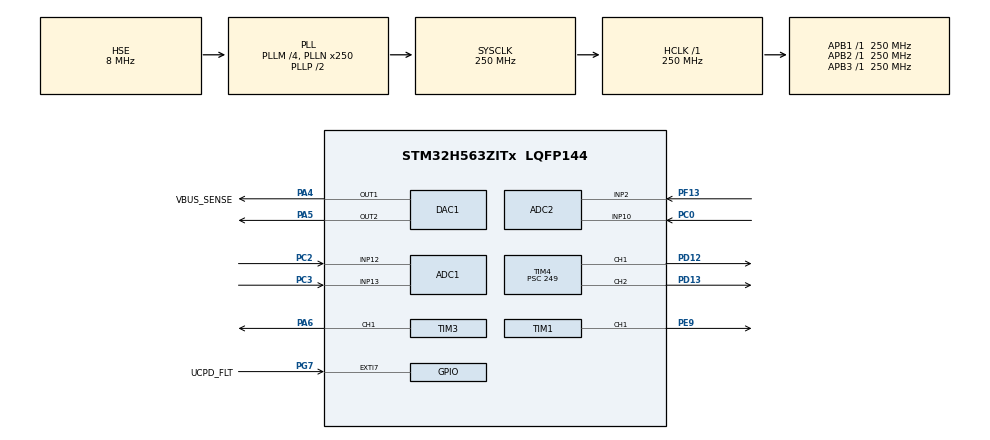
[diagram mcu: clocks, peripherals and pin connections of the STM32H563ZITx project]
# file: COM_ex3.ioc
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ADC1.Channel-0\#ChannelRegularConversion=ADC_CHANNEL_13
ADC1.Channel-1\#ChannelRegularConversion=ADC_CHANNEL_12
ADC1.ContinuousConvMode=ENABLE
ADC1.ConversionDataManagement=ADC_CONVERSIONDATA_DMA_CIRCULAR
ADC1.DMAContinuousRequests=DISABLE
ADC1.MonitoredBy-0\#ChannelRegularConversion=__NULL
ADC1.MonitoredBy-1\#ChannelRegularConversion=__NULL
ADC1.NbrOfConversion=2
ADC1.NbrOfConversionFlag=1
ADC1.OffsetNumber-0\#ChannelRegularConversion=ADC_OFFSET_NONE
ADC1.OffsetNumber-1\#ChannelRegularConversion=ADC_OFFSET_NONE
ADC1.Rank-0\#ChannelRegularConversion=1
ADC1.Rank-1\#ChannelRegularConversion=2
ADC1.SamplingTime-0\#ChannelRegularConversion=ADC_SAMPLETIME_12CYCLES_5
ADC1.SamplingTime-1\#ChannelRegularConversion=ADC_SAMPLETIME_12CYCLES_5
ADC1.master=1
ADC2.Channel-0\#ChannelRegularConversion=ADC_CHANNEL_2
ADC2.Channel-1\#ChannelRegularConversion=ADC_CHANNEL_10
ADC2.ContinuousConvMode=ENABLE
ADC2.ConversionDataManagement=ADC_CONVERSIONDATA_DMA_CIRCULAR
ADC2.DMAContinuousRequests=DISABLE
ADC2.MonitoredBy-0\#ChannelRegularConversion=__NULL
ADC2.MonitoredBy-1\#ChannelRegularConversion=__NULL
ADC2.NbrOfConversion=2
ADC2.NbrOfConversionFlag=1
ADC2.OffsetNumber-0\#ChannelRegularConversion=ADC_OFFSET_NONE
ADC2.OffsetNumber-1\#ChannelRegularConversion=ADC_OFFSET_NONE
ADC2.Rank-0\#ChannelRegularConversion=1
ADC2.Rank-1\#ChannelRegularConversion=2
ADC2.SamplingTime-0\#ChannelRegularConversion=ADC_SAMPLETIME_12CYCLES_5
ADC2.SamplingTime-1\#ChannelRegularConversion=ADC_SAMPLETIME_12CYCLES_5
BOOTPATH.BootPathName=LEGACY
BOOTPATH.UserSelectedBootPath=LEGACY
CORTEX_M33_NS.Number-Cortex_Memory_Protection_Unit_Region0_OTP_RO_AREAS_Settings=MPU_REGION_NUMBER0
CORTEX_M33_NS.default_mode_Activation=1
CORTEX_M33_NS.userName=CORTEX_M33
DAC1.DAC_Channel-DAC_OUT1=DAC_CHANNEL_1
DAC1.DAC_Channel-DAC_OUT2=DAC_CHANNEL_2
GPDMA1.CIRCULARMODE_GPDMACH0=ENABLE
GPDMA1.CIRCULARMODE_GPDMACH1=ENABLE
GPDMA1.CIRCULARMODE_GPDMACH2=ENABLE
GPDMA1.CIRCULARMODE_GPDMACH3=ENABLE
GPDMA1.DESTDATAWIDTH_GPDMACH0=DMA_DEST_DATAWIDTH_HALFWORD
GPDMA1.DESTDATAWIDTH_GPDMACH1=DMA_DEST_DATAWIDTH_HALFWORD
GPDMA1.DESTDATAWIDTH_GPDMACH2=DMA_DEST_DATAWIDTH_HALFWORD
GPDMA1.DESTDATAWIDTH_GPDMACH3=DMA_DEST_DATAWIDTH_HALFWORD
GPDMA1.DESTINC_GPDMACH0=DMA_DINC_INCREMENTED
GPDMA1.DESTINC_GPDMACH1=DMA_DINC_INCREMENTED
GPDMA1.DESTINC_GPDMACH2=DMA_DINC_INCREMENTED
GPDMA1.DESTINC_GPDMACH3=DMA_DINC_INCREMENTED
GPDMA1.IPHANDLE_GPDMACH0-SIMPLEREQUEST_GPDMACH0=__NULL
GPDMA1.IPHANDLE_GPDMACH1-SIMPLEREQUEST_GPDMACH1=__NULL
GPDMA1.IPHANDLE_GPDMACH2-SIMPLEREQUEST_GPDMACH2=__NULL
GPDMA1.IPHANDLE_GPDMACH3-SIMPLEREQUEST_GPDMACH3=__NULL
GPDMA1.LINKALLOCATEDPORT_CIRCULAR_GPDMACH2=DMA_LINK_ALLOCATED_PORT1
GPDMA1.LINKALLOCATEDPORT_CIRCULAR_GPDMACH3=DMA_LINK_ALLOCATED_PORT1
GPDMA1.REQUEST_GPDMACH0=GPDMA1_REQUEST_ADC1
GPDMA1.REQUEST_GPDMACH1=GPDMA1_REQUEST_ADC1
GPDMA1.REQUEST_GPDMACH2=GPDMA1_REQUEST_ADC2
GPDMA1.REQUEST_GPDMACH3=GPDMA1_REQUEST_ADC2
GPDMA1.SRCDATAWIDTH_GPDMACH0=DMA_SRC_DATAWIDTH_HALFWORD
GPDMA1.SRCDATAWIDTH_GPDMACH1=DMA_SRC_DATAWIDTH_HALFWORD
GPDMA1.SRCDATAWIDTH_GPDMACH2=DMA_SRC_DATAWIDTH_HALFWORD
GPDMA1.SRCDATAWIDTH_GPDMACH3=DMA_SRC_DATAWIDTH_HALFWORD
GPDMA1.TRANSFERALLOCATEDPORTDEST_GPDMACH2=DMA_DEST_ALLOCATED_PORT1
GPDMA1.TRANSFERALLOCATEDPORTDEST_GPDMACH3=DMA_DEST_ALLOCATED_PORT1
GPDMA1.TRANSFERALLOCATEDPORTSRC_GPDMACH2=DMA_SRC_ALLOCATED_PORT1
GPDMA1.TRANSFERALLOCATEDPORTSRC_GPDMACH3=DMA_SRC_ALLOCATED_PORT1
Mcu.Family=STM32H5
Mcu.Name=STM32H563ZITx
Mcu.Package=LQFP144
NUCLEO-H563ZI.BUTTON=1
NUCLEO-H563ZI.LD1=false
NUCLEO-H563ZI.LD2=false
NUCLEO-H563ZI.LD3=false
NUCLEO-H563ZI.VCP=true
NVIC.EXTI13_IRQn=true\:0\:0\:false\:false\:true\:false\:true\:true
NVIC.GPDMA1_Channel0_IRQn=true\:0\:0\:false\:false\:true\:false\:true\:true
NVIC.GPDMA1_Channel1_IRQn=true\:0\:0\:false\:false\:true\:false\:true\:true
NVIC.GPDMA1_Channel2_IRQn=true\:0\:0\:false\:false\:true\:false\:true\:true
NVIC.GPDMA1_Channel3_IRQn=true\:0\:0\:false\:false\:true\:false\:true\:true
NVIC.PriorityGroup=NVIC_PRIORITYGROUP_4
PA1.GPIO_Label=RMII_REF_CLK
PA1.GPIO_Mode=GPIO_MODE_AF_PP
PA1.GPIO_PuPd=GPIO_NOPULL
PA1.GPIO_Speed=GPIO_SPEED_FREQ_LOW
PA1.Signal=ETH_REF_CLK
PA11.GPIO_Label=USB_FS_N
PA11.Signal=USB_DM
PA12.GPIO_Label=USB_FS_P
PA12.Signal=USB_DP
PA13(JTMS/SWDIO).GPIO_Label=SWDIO
PA13(JTMS/SWDIO).Signal=DEBUG_JTMS-SWDIO
PA14(JTCK/SWCLK).GPIO_Label=SWCLK
PA14(JTCK/SWCLK).Signal=DEBUG_JTCK-SWCLK
PA15(JTDI).GPIO_Label=T_JTDI
PA15(JTDI).Signal=DEBUG_JTDI
PA2.GPIO_Label=RMII_MDIO
PA2.GPIO_Mode=GPIO_MODE_AF_PP
PA2.GPIO_PuPd=GPIO_NOPULL
PA2.GPIO_Speed=GPIO_SPEED_FREQ_LOW
PA2.Signal=ETH_MDIO
PA4.GPIO_Label=VBUS_SENSE
PA4.Signal=SharedAnalog_PA4
PA5.Signal=COMP_DAC12_group
PA6.Signal=S_TIM3_CH1
PA7.GPIO_Label=RMII_CRS_DV
PA7.GPIO_Mode=GPIO_MODE_AF_PP
PA7.GPIO_PuPd=GPIO_NOPULL
PA7.GPIO_Speed=GPIO_SPEED_FREQ_LOW
PA7.Signal=ETH_CRS_DV
PA9.GPIO_Label=UCDP_DBn
PA9.Signal=UCPD1_DB1
PB13.GPIO_Label=UCPD_CC1
PB13.Signal=UCPD1_CC1
PB14.GPIO_Label=UCPD_CC2
PB14.Signal=UCPD1_CC2
PB15.GPIO_Label=RMII_TXD1
PB15.GPIO_Mode=GPIO_MODE_AF_PP
PB15.GPIO_PuPd=GPIO_NOPULL
PB15.GPIO_Speed=GPIO_SPEED_FREQ_LOW
PB15.Signal=ETH_TXD1
PB3(JTDO/TRACESWO).GPIO_Label=SWO
PB3(JTDO/TRACESWO).Signal=DEBUG_JTDO-SWO
PB6.GPIO_Label=ARD_D1_TX
PB6.Signal=LPUART1_TX
PB7.GPIO_Label=ARD_D0_RX
PB7.Signal=LPUART1_RX
PC0.Signal=ADCx_INP10
PC14-OSC32_IN(OSC32_IN).Mode=LSE-External-Oscillator
PC14-OSC32_IN(OSC32_IN).Signal=RCC_OSC32_IN
PC15-OSC32_OUT(OSC32_OUT).Mode=LSE-External-Oscillator
PC15-OSC32_OUT(OSC32_OUT).Signal=RCC_OSC32_OUT
PC2.Signal=ADCx_INP12
PC3.Signal=ADCx_INP13
PC4.GPIO_Label=RMII_RXD0
PC4.GPIO_Mode=GPIO_MODE_AF_PP
PC4.GPIO_PuPd=GPIO_NOPULL
PC4.GPIO_Speed=GPIO_SPEED_FREQ_LOW
PC4.Signal=ETH_RXD0
PC5.GPIO_Label=RMII_RXD1
PC5.GPIO_Mode=GPIO_MODE_AF_PP
PC5.GPIO_PuPd=GPIO_NOPULL
PC5.GPIO_Speed=GPIO_SPEED_FREQ_LOW
PC5.Signal=ETH_RXD1
PD12.Signal=S_TIM4_CH1
PD13.Signal=S_TIM4_CH2
PE2.GPIO_Label=TRACE_CK
PE2.Signal=DEBUG_TRACECLK
PE3.GPIO_Label=TRACE_D0
PE3.Signal=DEBUG_TRACED0
PE4.GPIO_Label=TRACE_D1
PE4.Signal=DEBUG_TRACED1
PE5.GPIO_Label=TRACE_D2
PE5.Signal=DEBUG_TRACED2
PE6.GPIO_Label=TRACE_D3
PE6.Signal=DEBUG_TRACED3
PE9.Signal=S_TIM1_CH1
PF11.Signal=ADC1_INP2
PF13.Mode=IN2-Single-Ended
PF13.Signal=ADC2_INP2
PG11.GPIO_Label=RMII_TXT_EN
PG11.GPIO_Mode=GPIO_MODE_AF_PP
PG11.GPIO_PuPd=GPIO_NOPULL
PG11.GPIO_Speed=GPIO_SPEED_FREQ_LOW
PG11.Signal=ETH_TX_EN
PG13.GPIO_Label=RMI_TXD0
PG13.GPIO_Mode=GPIO_MODE_AF_PP
PG13.GPIO_PuPd=GPIO_NOPULL
PG13.GPIO_Speed=GPIO_SPEED_FREQ_LOW
PG13.Signal=ETH_TXD0
PG7.GPIO_Label=UCPD_FLT
PG7.Signal=GPXTI7
PH0-OSC_IN(PH0).GPIO_Label=STLK_MCO
PH0-OSC_IN(PH0).Mode=HSE-External-Clock-Source
PH0-OSC_IN(PH0).Signal=RCC_OSC_IN
ProjectManager.HeapSize=0x200
ProjectManager.StackSize=0x400
ProjectManager.TargetToolchain=STM32CubeIDE
RCC.ADCFreq_Value=250000000
RCC.AHBFreq_Value=250000000
RCC.APB1Freq_Value=250000000
RCC.APB1TimFreq_Value=250000000
RCC.APB2Freq_Value=250000000
RCC.APB2TimFreq_Value=250000000
RCC.APB3Freq_Value=250000000
RCC.CSI_VALUE=4000000
RCC.CortexFreq_Value=250000000
RCC.EPOD_VALUE=8000000
RCC.HCLKFreq_Value=250000000
RCC.HSE_VALUE=8000000
RCC.HSI48_VALUE=48000000
RCC.HSIDiv=RCC_HSI_DIV1
RCC.HSI_VALUE=64000000
RCC.LSIRC_VALUE=32000
RCC.PLLM=4
RCC.PLLN=250
RCC.PLLSourceVirtual=RCC_PLL1_SOURCE_HSE
RCC.SYSCLKFreq_VALUE=250000000
RCC.SYSCLKSource=RCC_SYSCLKSOURCE_PLLCLK
RCC.USBFreq_Value=48000000
RCC.VCOOutputFreq_Value=500000000
SH.ADCx_INP10.0=ADC2_INP10,IN10-Single-Ended
SH.ADCx_INP12.0=ADC1_INP12,IN12-Single-Ended
SH.ADCx_INP13.0=ADC1_INP13,IN13-Single-Ended
SH.COMP_DAC12_group.0=DAC1_OUT2,DAC_OUT2
SH.S_TIM1_CH1.0=TIM1_CH1,PWM Generation1 CH1
SH.S_TIM3_CH1.0=TIM3_CH1,PWM Generation1 CH1
SH.S_TIM4_CH1.0=TIM4_CH1,PWM Generation1 CH1
SH.S_TIM4_CH2.0=TIM4_CH2,PWM Generation2 CH2
SH.SharedAnalog_PA4.0=ADC1_INP18
SH.SharedAnalog_PA4.1=DAC1_OUT1,DAC_OUT1
TIM1.Channel-PWM\ Generation1\ CH1=TIM_CHANNEL_1
TIM1.Dithering=Disable
TIM1.PeriodNoDither=249
TIM1.Prescaler=0
TIM1.PulseNoDither_1=217
TIM3.Channel-PWM\ Generation1\ CH1=TIM_CHANNEL_1
TIM3.PeriodNoDither=249
TIM3.PulseNoDither_1=82
TIM4.Channel-PWM\ Generation1\ CH1=TIM_CHANNEL_1
TIM4.Channel-PWM\ Generation2\ CH2=TIM_CHANNEL_2
TIM4.PeriodNoDither=999
TIM4.Prescaler=249
TIM4.PulseNoDither_1=499
TIM4.PulseNoDither_2=299
VP_BOOTPATH_VS_BOOTPATH.Mode=BP_Activate
VP_CORTEX_M33_NS_VS_Hclk.Mode=Hclk_Mode
VP_GPDMA1_VS_GPDMACH0.Mode=SIMPLEREQUEST_GPDMACH0
VP_GPDMA1_VS_GPDMACH1.Mode=SIMPLEREQUEST_GPDMACH1
VP_GPDMA1_VS_GPDMACH2.Mode=SIMPLEREQUEST_GPDMACH2
VP_GPDMA1_VS_GPDMACH3.Mode=SIMPLEREQUEST_GPDMACH3
VP_ICACHE_VS_ICACHE.Mode=DirectMappedCache
VP_MEMORYMAP_VS_MEMORYMAP.Mode=CurAppReg
VP_NUCLEO-H563ZI_VS_BSP_COMMON.Mode=COMMON
VP_PWR_VS_DBSignals.Mode=DisableDeadBatterySignals
VP_PWR_VS_LPOM.Mode=PowerOptimisation
VP_PWR_VS_SECSignals.Mode=Security/Privilege
VP_TIM1_VS_ClockSourceINT.Mode=Internal
VP_TIM1_VS_ClockSourceITR.Mode=TriggerSource_ITR1
VP_TIM3_VS_ClockSourceINT.Mode=Internal
VP_TIM3_VS_ClockSourceITR.Mode=TriggerSource_ITR1
VP_TIM4_VS_ClockSourceINT.Mode=Internal
VP_TIM4_VS_ClockSourceITR.Mode=TriggerSource_ITR1
board=NUCLEO-H563ZI

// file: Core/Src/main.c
/* USER CODE BEGIN Header */
/**
  ******************************************************************************
  * @file           : main.c
  * @brief          : Main program body
  ******************************************************************************
  */
/* USER CODE END Header */
#include "main.h"
#include "adc.h"
#include "dac.h"
#include "gpdma.h"
#include "icache.h"
#include "tim.h"
#include "gpio.h"

/* USER CODE BEGIN Includes */
#include <stdio.h>
#include <stdlib.h>
#include <string.h>

/* USER CODE END Includes */

/* USER CODE BEGIN PD */

#define ADC_INSTANCES 2
#define ADC_CHANNELS  2
#define TOP_N 4
#define IL_LUT_SIZE 401

/* USER CODE END PD */

COM_InitTypeDef BspCOMInit;

/* USER CODE BEGIN PV */

uint32_t peak[ADC_INSTANCES][ADC_CHANNELS];
uint32_t gain[ADC_INSTANCES][ADC_CHANNELS];

typedef struct
{
    uint32_t G_T;
    uint32_t G_D;
} IL_Gain_t;

volatile uint16_t adc1_buffer[2];
volatile uint16_t adc2_buffer[2];

uint16_t Factor;
uint16_t IL;
uint16_t Current_IL;
int32_t kp;
int32_t ki;
int32_t kd;
int32_t integral;
int32_t derivative;
IL_Gain_t il_gain;
uint8_t il_ready = 0;
volatile uint8_t h =0;

const uint16_t IL_LUT[IL_LUT_SIZE] = {
    65535, 64785, 64043, 63310, 62585, 61869, 61161, 60461,
    59769, 59084, 58408, 57740, 57079, 56425, 55779, 55141,
    54510, 53886, 53269, 52659, 52056, 51460, 50871, 50289,
    49713, 49144, 48582, 48026, 47476, 46932, 46395, 45864,
    45339, 44820, 44307, 43800, 43299, 42803, 42313, 41829,
    41350, 40876, 40409, 39946, 39489, 39037, 38590, 38148,
    37711, 37280, 36853, 36431, 36014, 35602, 35194, 34792,
    34393, 34000, 33610, 33226, 32845, 32469, 32098, 31730,
    31367, 31008, 30653, 30302, 29955, 29612, 29273, 28938,
    28607, 28280, 27956, 27636, 27320, 27007, 26698, 26392,
    26090, 25791, 25496, 25204, 24916, 24631, 24349, 24070,
    23794, 23522, 23253, 22987, 22723, 22463, 22206, 21952,
    21701, 21452, 21207, 20964, 20724, 20487, 20252, 20020,
    19791, 19565, 19341, 19119, 18901, 18684, 18470, 18259,
    18050, 17843, 17639, 17437, 17237, 17040, 16845, 16652,
    16462, 16273, 16087, 15903, 15721, 15541, 15363, 15187,
    15013, 14841, 14671, 14504, 14337, 14173, 14011, 13851,
    13692, 13535, 13381, 13227, 13076, 12926, 12778, 12632,
    12487, 12344, 12203, 12063, 11925, 11789, 11654, 11521,
    11389, 11258, 11129, 11002, 10876, 10752, 10629, 10507,
    10387, 10268, 10150, 10034, 9919, 9806, 9693, 9582,
    9473, 9364, 9257, 9151, 9046, 8943, 8840, 8739,
    8639, 8540, 8443, 8346, 8250, 8156, 8063, 7970,
    7879, 7789, 7700, 7612, 7524, 7438, 7353, 7269,
    7186, 7104, 7022, 6942, 6862, 6784, 6706, 6629,
    6554, 6478, 6404, 6331, 6259, 6187, 6116, 6046,
    5977, 5908, 5841, 5774, 5708, 5643, 5578, 5514,
    5451, 5389, 5327, 5266, 5206, 5146, 5087, 5029,
    4971, 4914, 4858, 4803, 4748, 4693, 4640, 4586,
    4534, 4482, 4431, 4380, 4330, 4280, 4231, 4183,
    4135, 4088, 4041, 3995, 3949, 3904, 3859, 3815,
    3771, 3728, 3685, 3643, 3601, 3560, 3519, 3479,
    3439, 3400, 3361, 3323, 3285, 3247, 3210, 3173,
    3137, 3101, 3065, 3030, 2996, 2961, 2927, 2894,
    2861, 2828, 2796, 2764, 2732, 2701, 2670, 2639,
    2609, 2579, 2550, 2520, 2492, 2463, 2435, 2407,
    2379, 2352, 2325, 2299, 2272, 2246, 2221, 2195,
    2170, 2145, 2121, 2096, 2072, 2049, 2025, 2002,
    1979, 1956, 1934, 1912, 1890, 1868, 1847, 1826,
    1805, 1784, 1764, 1744, 1724, 1704, 1685, 1665,
    1646, 1627, 1609, 1590, 1572, 1554, 1536, 1519,
    1501, 1484, 1467, 1450, 1434, 1417, 1401, 1385,
    1369, 1354, 1338, 1323, 1308, 1293, 1278, 1263,
    1249, 1234, 1220, 1206, 1193, 1179, 1165, 1152,
    1139, 1126, 1113, 1100, 1088, 1075, 1063, 1051,
    1039, 1027, 1015, 1003, 992, 981, 969, 958,
    947, 936, 926, 915, 905, 894, 884, 874,
    864, 854, 844, 835, 825, 816, 806, 797,
    788, 779, 770, 761, 752, 744, 735, 727,
    719, 710, 702, 694, 686, 678, 671, 663,
    655
};

/* USER CODE END PV */

void SystemClock_Config(void);
static void MPU_Config(void);
/* USER CODE BEGIN PFP */

void SetDAC_1(int value);
void SetDAC_2(int value);
void SetPWM(TIM_HandleTypeDef *htim, uint32_t channel, int percent);

void Calibration_Run(volatile uint16_t *adc1_buffer,volatile uint16_t *adc2_buffer);
uint16_t Tune_IL_Gains(uint32_t peak[2][2],IL_Gain_t *g,uint16_t x_centi_dB);

/* USER CODE END PFP */

int main(void)
{

  /* MCU Configuration--------------------------------------------------------*/

  /* MPU Configuration--------------------------------------------------------*/
  MPU_Config();

  /* Reset of all peripherals, Initializes the Flash interface and the Systick. */
  HAL_Init();

  /* Configure the system clock */
  SystemClock_Config();

  /* USER CODE BEGIN SysInit */

  static uint32_t printTick = 0;
  int32_t calculation_MRR3 = 0;
  //int16_t calculation_MRR4 = 0;
  static uint16_t DAC_Value_MRR3 = 3000;
 // static uint16_t DAC_Value_MRR4 = 4095;

  uint32_t ADC1_CH0_filt = 0;
  uint32_t ADC1_CH1_filt = 0;
  uint32_t ADC2_CH0_filt = 0;
  uint32_t ADC2_CH1_filt = 0;
  uint16_t dac_value = 0;

  kp = 0;
  ki = 0;
  kd =0;
  IL = 0;
  Current_IL= 0;
  integral =0;
  h=0;

  /* USER CODE END SysInit */

  /* Initialize all configured peripherals */
  MX_GPIO_Init();
  MX_GPDMA1_Init();
  MX_DAC1_Init();
  MX_ICACHE_Init();
  MX_TIM1_Init();
  MX_TIM3_Init();
  MX_TIM4_Init();
  MX_ADC1_Init();
  MX_ADC2_Init();
  /* USER CODE BEGIN 2 */
  BSP_PB_Init(BUTTON_USER, BUTTON_MODE_EXTI);
  HAL_ADC_Start_DMA(&hadc1, (uint32_t*)adc1_buffer, 2);
  HAL_ADC_Start_DMA(&hadc2, (uint32_t*)adc2_buffer, 2);

  /* Start PWM outputs */
  HAL_TIM_PWM_Start(&htim1, TIM_CHANNEL_1);
  HAL_TIM_PWM_Start(&htim3, TIM_CHANNEL_1);
  HAL_TIM_PWM_Start(&htim4, TIM_CHANNEL_1);
  HAL_TIM_PWM_Start(&htim4, TIM_CHANNEL_2);
  /* Enable main output for advanced timer */
  __HAL_TIM_MOE_ENABLE(&htim1);

  /* Start ADC DMA (4 samples total) */

  /* Print startup message */
  printf("System Ready\r\n");

  /* USER CODE END 2 */

  /* Initialize leds */
  BSP_LED_Init(LED_GREEN);
  BSP_LED_Init(LED_YELLOW);
  BSP_LED_Init(LED_RED);

  /* Initialize USER push-button, will be used to trigger an interrupt each time it's pressed.*/
  BSP_PB_Init(BUTTON_USER, BUTTON_MODE_EXTI);

  /* Initialize COM1 port (921600, 8 bits (7-bit data + 1 stop bit), no parity */
  BspCOMInit.BaudRate   = 921600;
  BspCOMInit.WordLength = COM_WORDLENGTH_8B;
  BspCOMInit.StopBits   = COM_STOPBITS_1;
  BspCOMInit.Parity     = COM_PARITY_NONE;
  BspCOMInit.HwFlowCtl  = COM_HWCONTROL_NONE;
  if (BSP_COM_Init(COM1, &BspCOMInit) != BSP_ERROR_NONE)
  {
    Error_Handler();
  }

  /* Infinite loop */
  /* USER CODE BEGIN WHILE */
  //static uint32_t lastTick = 0;

// SET THE INSERTION LOSS, 300 means 3db, 455 means 4.55 db loss
  IL = 300;

  Calibration_Run(adc1_buffer, adc2_buffer);

  printf("BEFORE IL GAINS \r\n");

  dac_value = Tune_IL_Gains(peak, &il_gain,IL);
  il_ready = 1;
  DAC_Value_MRR3 = dac_value;
  HAL_Delay(50);

  while (1)
  {

		if (LL_ADC_REG_IsConversionOngoing(ADC1)==0&&LL_ADC_REG_IsConversionOngoing(ADC2)==0)
		{
		LL_ADC_REG_StartConversion(ADC1);
		LL_ADC_REG_StartConversion(ADC2);
		while(LL_ADC_REG_IsConversionOngoing(ADC1)||LL_ADC_REG_IsConversionOngoing(ADC2))
			{ }
		HAL_Delay(1);
		ADC1_CH1_filt = (adc1_buffer[1]*il_gain.G_T)>>16;
		ADC2_CH1_filt = (adc2_buffer[1]*il_gain.G_D)>>16;
		}

		derivative = (ADC2_CH1_filt-ADC1_CH1_filt)-calculation_MRR3;
		calculation_MRR3 = ADC2_CH1_filt-ADC1_CH1_filt;
		integral += calculation_MRR3>>2;

		Current_IL = (adc1_buffer[1]<<16)/peak[0][1];

		kp = 16;
		ki = 20;
		kd = 2;
		DAC_Value_MRR3 +=((kp*calculation_MRR3)>>16) + ((ki*integral)>>16) + ((kd*derivative)>>16);

		/*if (calculation_MRR3 >0)
		{
			if (DAC_Value_MRR3<4095)
				DAC_Value_MRR3 = DAC_Value_MRR3 +1;
			else
			{
				DAC_Value_MRR3 = 50;
			HAL_Delay(100);
			}
		}

		if (calculation_MRR3 <0)
		{
			if (DAC_Value_MRR3>0)
				DAC_Value_MRR3 = DAC_Value_MRR3 -1;
			else
			{
				DAC_Value_MRR3 = 4000;
			HAL_Delay(100);
			}
		}*/

		calculation_MRR3 =0;

		SetDAC_2(DAC_Value_MRR3);
		//HAL_Delay(1);
		//SetDAC_1(DAC_Value_MRR4);

		if (HAL_GetTick() - printTick > 120)
		{
		    printf("ADC1=%lu %lu | ADC2=%lu %lu | DAC=%u IL=%u\r\n",
		           ADC1_CH0_filt,
		           ADC1_CH1_filt,
		           ADC2_CH0_filt,
		           ADC2_CH1_filt,
		           DAC_Value_MRR3,
				   Current_IL);

		    printf("DAC=%u IL = %u\r\n",
		           DAC_Value_MRR3,
				   Current_IL);

		    printTick = HAL_GetTick();
		}
		//HAL_Delay(5);
  }

}
    /* USER CODE END WHILE */

void SystemClock_Config(void)
{
  RCC_OscInitTypeDef RCC_OscInitStruct = {0};
  RCC_ClkInitTypeDef RCC_ClkInitStruct = {0};

  /** Configure the main internal regulator output voltage
  */
  __HAL_PWR_VOLTAGESCALING_CONFIG(PWR_REGULATOR_VOLTAGE_SCALE0);

  while(!__HAL_PWR_GET_FLAG(PWR_FLAG_VOSRDY)) {}

  /** Configure LSE Drive Capability
  *  Warning : Only applied when the LSE is disabled.
  */
  HAL_PWR_EnableBkUpAccess();
  __HAL_RCC_LSEDRIVE_CONFIG(RCC_LSEDRIVE_LOW);

  /** Initializes the RCC Oscillators according to the specified parameters
  * in the RCC_OscInitTypeDef structure.
  */
  RCC_OscInitStruct.OscillatorType = RCC_OSCILLATORTYPE_HSE|RCC_OSCILLATORTYPE_LSE;
  RCC_OscInitStruct.HSEState = RCC_HSE_BYPASS;
  RCC_OscInitStruct.LSEState = RCC_LSE_ON;
  RCC_OscInitStruct.PLL.PLLState = RCC_PLL_ON;
  RCC_OscInitStruct.PLL.PLLSource = RCC_PLL1_SOURCE_HSE;
  RCC_OscInitStruct.PLL.PLLM = 4;
  RCC_OscInitStruct.PLL.PLLN = 250;
  RCC_OscInitStruct.PLL.PLLP = 2;
  RCC_OscInitStruct.PLL.PLLQ = 2;
  RCC_OscInitStruct.PLL.PLLR = 2;
  RCC_OscInitStruct.PLL.PLLRGE = RCC_PLL1_VCIRANGE_1;
  RCC_OscInitStruct.PLL.PLLVCOSEL = RCC_PLL1_VCORANGE_WIDE;
  RCC_OscInitStruct.PLL.PLLFRACN = 0;
  if (HAL_RCC_OscConfig(&RCC_OscInitStruct) != HAL_OK)
  {
    Error_Handler();
  }

  /** Initializes the CPU, AHB and APB buses clocks
  */
  RCC_ClkInitStruct.ClockType = RCC_CLOCKTYPE_HCLK|RCC_CLOCKTYPE_SYSCLK
                              |RCC_CLOCKTYPE_PCLK1|RCC_CLOCKTYPE_PCLK2
                              |RCC_CLOCKTYPE_PCLK3;
  RCC_ClkInitStruct.SYSCLKSource = RCC_SYSCLKSOURCE_PLLCLK;
  RCC_ClkInitStruct.AHBCLKDivider = RCC_SYSCLK_DIV1;
  RCC_ClkInitStruct.APB1CLKDivider = RCC_HCLK_DIV1;
  RCC_ClkInitStruct.APB2CLKDivider = RCC_HCLK_DIV1;
  RCC_ClkInitStruct.APB3CLKDivider = RCC_HCLK_DIV1;

  if (HAL_RCC_ClockConfig(&RCC_ClkInitStruct, FLASH_LATENCY_5) != HAL_OK)
  {
    Error_Handler();
  }

  /** Configure the programming delay
  */
  __HAL_FLASH_SET_PROGRAM_DELAY(FLASH_PROGRAMMING_DELAY_2);
}

/* USER CODE BEGIN 4 */

void SetDAC_2(int value)
{
  if (value < 0) value = 0;
  if (value > 4095) value = 4095;

  HAL_DAC_SetValue(
      &hdac1,
      DAC_CHANNEL_2,
      DAC_ALIGN_12B_R,
      value
  );

  HAL_DAC_Start(&hdac1, DAC_CHANNEL_2);
}

void SetDAC_1(int value)
{
  if (value < 0) value = 0;
  if (value > 4095) value = 4095;

  HAL_DAC_SetValue(
      &hdac1,
      DAC_CHANNEL_1,
      DAC_ALIGN_12B_R,
      value
  );

  HAL_DAC_Start(&hdac1, DAC_CHANNEL_1);
}

uint16_t Tune_IL_Gains(uint32_t peak[2][2],  IL_Gain_t *g,uint16_t x_centi_dB)
{
	printf("TUNING IL GAIN\r\n");
	// Convert centi-dB to LUT index (5 centi-dB resolution)
	uint16_t idx = x_centi_dB / 5;
	uint32_t ratio = IL_LUT[idx];
	uint16_t dac_value = 3000;
	uint16_t count =0;
	uint32_t dac_sum = 0;
	g -> G_T = 65536;
	g -> G_D = 65536;
	uint8_t Ongoing = 1;
	uint32_t ADC1_CH0_filt = 0;
	uint32_t ADC1_CH1_filt = 0;
	uint32_t ADC2_CH0_filt = 0;
	uint32_t ADC2_CH1_filt = 0;
	uint16_t dac = dac_value;

	uint32_t target = (ratio*(uint32_t)peak[0][1])>>16;
	// Target is ratio(<<16)*adc_norm(<<10.

	while (Ongoing)
	{
	SetDAC_2(dac);
	HAL_Delay(10);
	printf("%u\r\n",dac);
	//while (h<8)
		 // {
	LL_ADC_REG_StartConversion(ADC1);
	LL_ADC_REG_StartConversion(ADC2);
	while(LL_ADC_REG_IsConversionOngoing(ADC1)||LL_ADC_REG_IsConversionOngoing(ADC2))
		{ }
	HAL_Delay(2);
	ADC1_CH0_filt = adc1_buffer[0];
	ADC1_CH1_filt = adc1_buffer[1];

	ADC2_CH0_filt = adc2_buffer[0];
	ADC2_CH1_filt = adc2_buffer[1];
	int32_t value = ADC1_CH1_filt-target;
	printf("ADC1=%lu %lu | ADC2=%lu %lu | DAC=%u IL=%u\r\n",
			           ADC1_CH0_filt,
			           ADC1_CH1_filt,
			           ADC2_CH0_filt,
			           ADC2_CH1_filt,
					   dac,
					   Current_IL);

	if (value<-1)
		  {dac++;
		  HAL_Delay(1);}
	else if (value>1)
		{dac--;
		HAL_Delay(1);}
	else
		{count++;
		dac_sum = dac_sum + dac;
		HAL_Delay(1);}

	if (count>31)
		{Ongoing=0;
		dac_value = dac_sum>>5;
		HAL_Delay(100);
		}
	  }

	printf("DAC VALUE FOUND: %u\r\n",dac_value);
	HAL_Delay(500);
	SetDAC_2(dac_value);
	Ongoing =1;
	int32_t calc=0;
	count =0;
	while (Ongoing)
		  {
			  if (LL_ADC_REG_IsConversionOngoing(ADC1)==0&&LL_ADC_REG_IsConversionOngoing(ADC2)==0)
			{
			LL_ADC_REG_StartConversion(ADC1);
			LL_ADC_REG_StartConversion(ADC2);
			while(LL_ADC_REG_IsConversionOngoing(ADC1)||LL_ADC_REG_IsConversionOngoing(ADC2))
				{ }

			ADC1_CH0_filt = adc1_buffer[0];
			ADC1_CH1_filt = (adc1_buffer[1]*g->G_T)>>16;

			ADC2_CH0_filt = adc2_buffer[0];
			ADC2_CH1_filt = (adc2_buffer[1]*g->G_D)>>16;

		    printf("ADC1=%lu %lu | ADC2=%lu %lu | DAC=%u IL=%u\r\n",
		           ADC1_CH0_filt,
		           ADC1_CH1_filt,
		           ADC2_CH0_filt,
		           ADC2_CH1_filt,
				   dac_value,
				   Current_IL);
			}

			calc = ADC2_CH1_filt-ADC1_CH1_filt;

			if (calc>0)
			{
			if (calc>2000){
				g -> G_D -=500;
				g -> G_T +=1000;}
			else if (calc>200){
				g -> G_D -=50;
				g -> G_T +=100;}
			else if (calc>20){
				g -> G_D -=5;
				g -> G_T +=10;}
			else{
				g -> G_D -=1;
				g -> G_T +=2;}
			}

			else if (calc<0)
			{
				if (calc<-2000){
					g -> G_D +=1000;
					g -> G_T -=500;}
				if (calc<-200){
					g -> G_D +=100;
					g -> G_T -=50;}
				else if (calc<-20){
					g -> G_D +=10;
					g -> G_T -=5;}
				else{
					g -> G_D +=2;
					g -> G_T -=1;}
			}
			else
				count++;

			if (count>31)
				Ongoing=0;

			printf("G_D = %lu G_T = %lu\r\n",g->G_D,g->G_T);
						HAL_Delay(5);
		  }

			printf("Gain T : %lu, Gain D: %lu\r\n",g->G_T,g->G_D);
			HAL_Delay(500);
			return(dac_value);

}

void Calibration_Run(volatile uint16_t *adc1_buffer,
                     volatile uint16_t *adc2_buffer)
{
    printf("Calibration Begin\r\n");
    Current_IL =0;

    /* reset */
    for (uint8_t a = 0; a < ADC_INSTANCES; a++)
    {
        for (uint8_t ch = 0; ch < ADC_CHANNELS; ch++)
        {
            for (uint8_t i = 0; i < TOP_N; i++)
            {
                peak[a][ch] = 0;
            }
        }
    }

    for (uint16_t dac = 0; dac < 3000; dac++)
    {
        SetDAC_2(dac);

        HAL_Delay(2);

        LL_ADC_REG_StartConversion(ADC1);
        LL_ADC_REG_StartConversion(ADC2);

        while (LL_ADC_REG_IsConversionOngoing(ADC1) ||
               LL_ADC_REG_IsConversionOngoing(ADC2))
        {
        }
        HAL_Delay(2);

        uint16_t adc[ADC_INSTANCES][ADC_CHANNELS];

        adc[0][0] = adc1_buffer[0];
        adc[0][1] = adc1_buffer[1];

        adc[1][0] = adc2_buffer[0];
        adc[1][1] = adc2_buffer[1];

        printf("ADC1=%u %u | ADC2=%u %u | DAC=%u IL=%u\r\n",
        		adc[0][0],
				adc[0][1],
				adc[1][0],
				adc[1][1],
				dac,
				Current_IL);
        HAL_Delay(2);

        for (uint8_t a = 0; a < ADC_INSTANCES; a++)
        {
            for (uint8_t ch = 0; ch < ADC_CHANNELS; ch++)
            {
                if (peak[a][ch]< adc[a][ch])
				peak[a][ch] = adc[a][ch];
            }
        }

        HAL_Delay(1);
    }

    /* find global reference */
    uint32_t ref = 0;

    for (uint8_t a = 0; a < ADC_INSTANCES; a++)
    {
        for (uint8_t ch = 0; ch < ADC_CHANNELS; ch++)
        {
            if (peak[a][ch] > ref)
                ref = peak[a][ch];
        }
    }

    printf("Calibration End\r\n");
    printf("MAXIMUM: %lu\r\n",ref);
}

void SetPWM(TIM_HandleTypeDef *htim, uint32_t channel, int percent)
{
    if (percent < 0) percent = 0;
    if (percent > 100) percent = 100;

    uint32_t arr = __HAL_TIM_GET_AUTORELOAD(htim);
    uint32_t pulse = (percent * (arr + 1)) / 100;

    __HAL_TIM_SET_COMPARE(htim, channel, pulse);

    printf("PWM set to %d%%\r\n", percent);
}

/* USER CODE END 4 */

 /* MPU Configuration */

void MPU_Config(void)
{
  MPU_Region_InitTypeDef MPU_InitStruct = {0};
  MPU_Attributes_InitTypeDef MPU_AttributesInit = {0};

  /* Disables the MPU */
  HAL_MPU_Disable();

  /** Initializes and configures the Region 0 and the memory to be protected
  */
  MPU_InitStruct.Enable = MPU_REGION_ENABLE;
  MPU_InitStruct.Number = MPU_REGION_NUMBER0;
  MPU_InitStruct.BaseAddress = 0x08FFF000;
  MPU_InitStruct.LimitAddress = 0x08FFFFFF;
  MPU_InitStruct.AttributesIndex = MPU_ATTRIBUTES_NUMBER0;
  MPU_InitStruct.AccessPermission = MPU_REGION_ALL_RO;
  MPU_InitStruct.DisableExec = MPU_INSTRUCTION_ACCESS_DISABLE;
  MPU_InitStruct.IsShareable = MPU_ACCESS_NOT_SHAREABLE;

  HAL_MPU_ConfigRegion(&MPU_InitStruct);

  /** Initializes and configures the Attribute 0 and the memory to be protected
  */
  MPU_AttributesInit.Number = MPU_ATTRIBUTES_NUMBER0;
  MPU_AttributesInit.Attributes = INNER_OUTER(MPU_NOT_CACHEABLE);

  HAL_MPU_ConfigMemoryAttributes(&MPU_AttributesInit);
  /* Enables the MPU */
  HAL_MPU_Enable(MPU_PRIVILEGED_DEFAULT);

}

void Error_Handler(void)
{
  __disable_irq();
  while (1)
  {
  }
}
